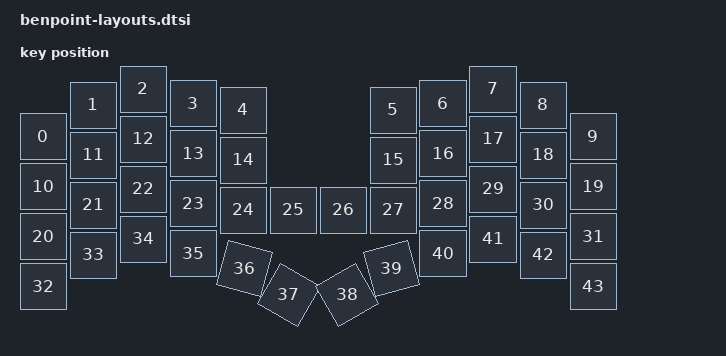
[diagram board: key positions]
#include <physical_layouts.dtsi>

/ {
    physical_layout0: physical_layout_0 {
        compatible = "zmk,physical-layout";
        display-name = "44keys";

        kscan = <&kscan0>;
        transform = <&default_transform>;

        keys  //                     w   h    x    y     rot    rx    ry
            = <&key_physical_attrs 100 100    0   95       0     0     0>
            , <&key_physical_attrs 100 100  100   32       0     0     0>
            , <&key_physical_attrs 100 100  200    0       0     0     0>
            , <&key_physical_attrs 100 100  300   29       0     0     0>
            , <&key_physical_attrs 100 100  400   42       0     0     0>
            , <&key_physical_attrs 100 100  700   42       0     0     0>
            , <&key_physical_attrs 100 100  800   29       0     0     0>
            , <&key_physical_attrs 100 100  900    0       0     0     0>
            , <&key_physical_attrs 100 100 1000   32       0     0     0>
            , <&key_physical_attrs 100 100 1100   95       0     0     0>
            , <&key_physical_attrs 100 100    0  195       0     0     0>
            , <&key_physical_attrs 100 100  100  132       0     0     0>
            , <&key_physical_attrs 100 100  200  100       0     0     0>
            , <&key_physical_attrs 100 100  300  129       0     0     0>
            , <&key_physical_attrs 100 100  400  142       0     0     0>
            , <&key_physical_attrs 100 100  700  142       0     0     0>
            , <&key_physical_attrs 100 100  800  129       0     0     0>
            , <&key_physical_attrs 100 100  900  100       0     0     0>
            , <&key_physical_attrs 100 100 1000  132       0     0     0>
            , <&key_physical_attrs 100 100 1100  195       0     0     0>
            , <&key_physical_attrs 100 100    0  295       0     0     0>
            , <&key_physical_attrs 100 100  100  232       0     0     0>
            , <&key_physical_attrs 100 100  200  200       0     0     0>
            , <&key_physical_attrs 100 100  300  229       0     0     0>
            , <&key_physical_attrs 100 100  400  242       0     0     0>
            , <&key_physical_attrs 100 100  500  242       0     0     0>
            , <&key_physical_attrs 100 100  600  242       0     0     0>
            , <&key_physical_attrs 100 100  700  242       0     0     0>
            , <&key_physical_attrs 100 100  800  229       0     0     0>
            , <&key_physical_attrs 100 100  900  200       0     0     0>
            , <&key_physical_attrs 100 100 1000  232       0     0     0>
            , <&key_physical_attrs 100 100 1100  295       0     0     0>
            , <&key_physical_attrs 100 100    0  395       0     0     0>
            , <&key_physical_attrs 100 100  100  332       0     0     0>
            , <&key_physical_attrs 100 100  200  300       0     0     0>
            , <&key_physical_attrs 100 100  300  329       0     0     0>
            , <&key_physical_attrs 100 100  390  355    1500   430   455>
            , <&key_physical_attrs 100 100  480  355    3000   430   455>
            , <&key_physical_attrs 100 100  620  355 (-3000)   770   455>
            , <&key_physical_attrs 100 100  710  355 (-1500)   770   455>
            , <&key_physical_attrs 100 100  800  329       0     0     0>
            , <&key_physical_attrs 100 100  900  300       0     0     0>
            , <&key_physical_attrs 100 100 1000  332       0     0     0>
            , <&key_physical_attrs 100 100 1100  395       0     0     0>
            ;
    };
};
